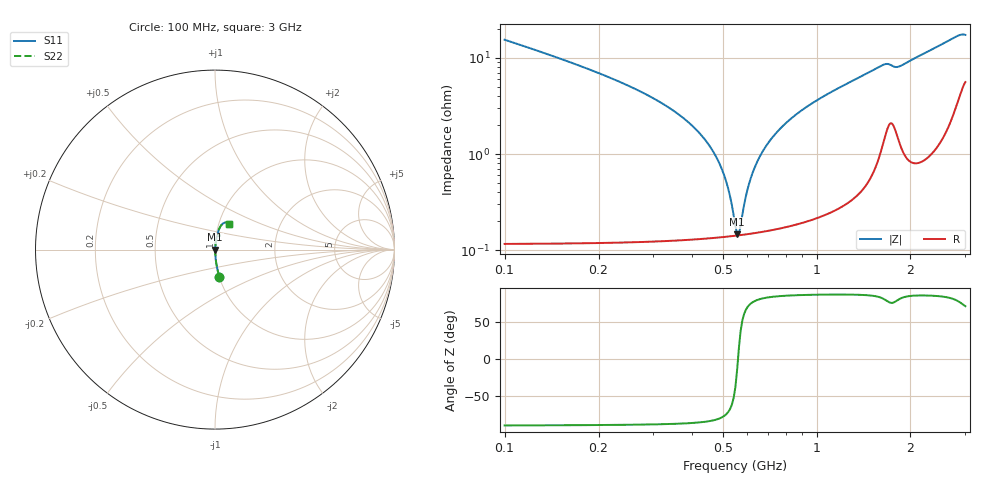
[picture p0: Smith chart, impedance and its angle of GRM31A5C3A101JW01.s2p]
!Murata Part Number: GRM31A5C3A101JW01
!These Parameters are Measured in Series Mode Connection
!Data Generated on Mar 30, 2021
!  o--ll--o
!Port1  Port2
!  o------o
!Operation Temp=25[degC], DC Bias Voltage=0[V]
!Freq. Start=100[MHz] Stop=3[GHz] 401[Steps]
# Hz S RI R 50
!Freq.(Hz) S11(Real) S11(Imag) S21(Real) S21(Imag) S12(Real) S12(Imag) S22(Real) S22(Imag)
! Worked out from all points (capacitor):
!   401 points, 100 MHz to 3 GHz, reference 50 ohm
!   read as one part in series: C = 99.9 pF near 114.5 MHz
!   lowest |Z| = 147 mohm at 556.8 MHz (marker M1)
!   series resonance near 560 MHz, so ESL is about 810 pH
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1e8  0.0243 -0.1502  0.9757 0.1502  0.9757 0.1502  0.0243 -0.1502
2.16e8  0.00511 -0.0624  0.9949 0.0624  0.9949 0.0624  0.00511 -0.0624
3.61e8  0.00193 -0.0258  0.9981 0.0258  0.9981 0.0258  0.00193 -0.0258
4.4075e8  0.00151 -0.0138  0.9985 0.0138  0.9985 0.0138  0.00151 -0.0138
4.9875e8  0.00141 -0.00663  0.9986 0.00663  0.9986 0.00663  0.00141 -0.00663
5.205e8  0.00141 -0.00418  0.9986 0.00418  0.9986 0.00418  0.00141 -0.00418
5.495e8  0.00142 -0.00108  0.9986 0.00108  0.9986 0.00108  0.00142 -0.00108
5.5675e8  0.00142 -0.000333  0.9986 0.000333  0.9986 0.000333  0.00142 -0.000333
5.7125e8  0.00144 0.00114  0.9986 -0.00114  0.9986 -0.00114  0.00144 0.00114
5.8575e8  0.00146 0.00257  0.9985 -0.00257  0.9985 -0.00257  0.00146 0.00257
6.075e8  0.0015 0.00467  0.9985 -0.00467  0.9985 -0.00467  0.0015 0.00467
6.365e8  0.00157 0.00736  0.9984 -0.00736  0.9984 -0.00736  0.00157 0.00736
6.7275e8  0.00167 0.0106  0.9983 -0.0106  0.9983 -0.0106  0.00167 0.0106
7.235e8  0.00185 0.0149  0.9982 -0.0149  0.9982 -0.0149  0.00185 0.0149
8.6125e8  0.00251 0.0257  0.9975 -0.0257  0.9975 -0.0257  0.00251 0.0257
1.0715e9  0.00401 0.0408  0.996 -0.0408  0.996 -0.0408  0.00401 0.0408
1.55e9  0.0132 0.0754  0.9868 -0.0754  0.9868 -0.0754  0.0132 0.0754
1.67325e9  0.0233 0.0813  0.9767 -0.0813  0.9767 -0.0813  0.0233 0.0813
1.81825e9  0.0207 0.0762  0.9793 -0.0762  0.9793 -0.0762  0.0207 0.0762
2.03575e9  0.017 0.0939  0.983 -0.0939  0.983 -0.0939  0.017 0.0939
2.5215e9  0.0317 0.1314  0.9683 -0.1314  0.9683 -0.1314  0.0317 0.1314
3e9  0.0753 0.1434  0.9247 -0.1434  0.9247 -0.1434  0.0753 0.1434
